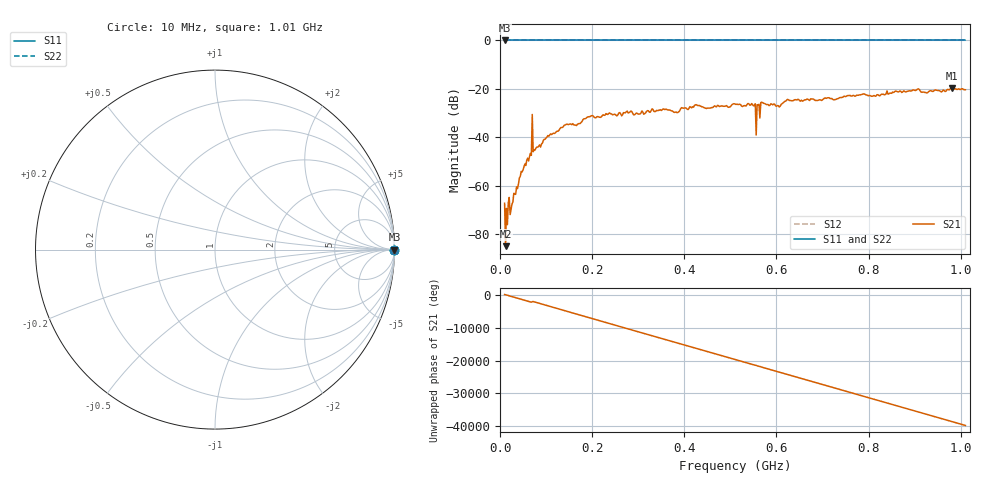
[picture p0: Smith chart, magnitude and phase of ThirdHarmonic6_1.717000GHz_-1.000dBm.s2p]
! 8/16/2025 8:39:56 PM
! C:\ANRITSUVNA\TEMP\TEMP.S2P
! CHANNEL.1
! TR.MEASUREMENT
! RAW.DATA
! RF.CORRECTION.OFF
! AVERAGING.OFF
! IF.BANDWIDTH: 5KHZ
! SWEEPTYPE:  FREQ.SWEEP(Linear)
! Reference Plane Port Info
! PORT:  PORT1  PORT2
! DISTANCE:  0  m  0  m
! TIME:  0  s  0  s
! PHASE.OFFSET:  0  deg.  0  deg.
! LOSS:  0  dB  0  dB
! REF.LOSS:  0  dB  0  dB
! REF.FREQ:  0  Hz  0  Hz
! Power Info
! POWER:  -20  dBm  -20  dBm
! EFF.POWER:  -20  dBm  -20  dBm
! SOURCE.ATTEN:  0  dB  0  dB
! TEST.ATTEN:  0  dB  0  dB
# GHZ S RI R 50.0
! FREQ.GHZ  S11RE  S11IM  S21RE  S21IM  S12RE  S12IM  S22RE  S22IM
!; PortSelection: Port_12
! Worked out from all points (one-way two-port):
!   501 points, 10 MHz to 1.01 GHz, reference 50 ohm
!   highest |S21| = -19.64 dB at 980 MHz (marker M1); lowest = -85.1 dB at 12 MHz (marker M2)
!   lowest |S11| = 0.0 dB at 10 MHz (marker M3)
!   |S11| at or under -10 dB: nowhere
!   |S22| runs from 0.0 to 0.0 dB; largest |S21 - S12| = 1.1
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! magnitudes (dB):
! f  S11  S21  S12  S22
! 10 MHz  0.0  -67.3  0.0  0.0
! 12 MHz  0.0  -85.1  0.0  0.0
! 26 MHz  0.0  -67.7  0.0  0.0
! 46 MHz  0.0  -54.1  0.0  0.0
! 70 MHz  0.0  -30.6  0.0  0.0
! 74 MHz  0.0  -45.2  0.0  0.0
! 76 MHz  0.0  -45.3  0.0  0.0
! 142 MHz  0.0  -34.9  0.0  0.0
! 178 MHz  0.0  -33.5  0.0  0.0
! 344 MHz  0.0  -28.9  0.0  0.0
! 510 MHz  0.0  -26.3  0.0  0.0
! 550 MHz  0.0  -27.0  0.0  0.0
! 552 MHz  0.0  -27.0  0.0  0.0
! 560 MHz  0.0  -26.7  0.0  0.0
! 562 MHz  0.0  -26.4  0.0  0.0
! 570 MHz  0.0  -25.7  0.0  0.0
! 604 MHz  0.0  -27.0  0.0  0.0
! 622 MHz  0.0  -24.7  0.0  0.0
! 678 MHz  0.0  -24.2  0.0  0.0
! 844 MHz  0.0  -22.0  0.0  0.0
! 980 MHz  0.0  -19.6  0.0  0.0
! 1.01 GHz  0.0  -20.4  0.0  0.0
